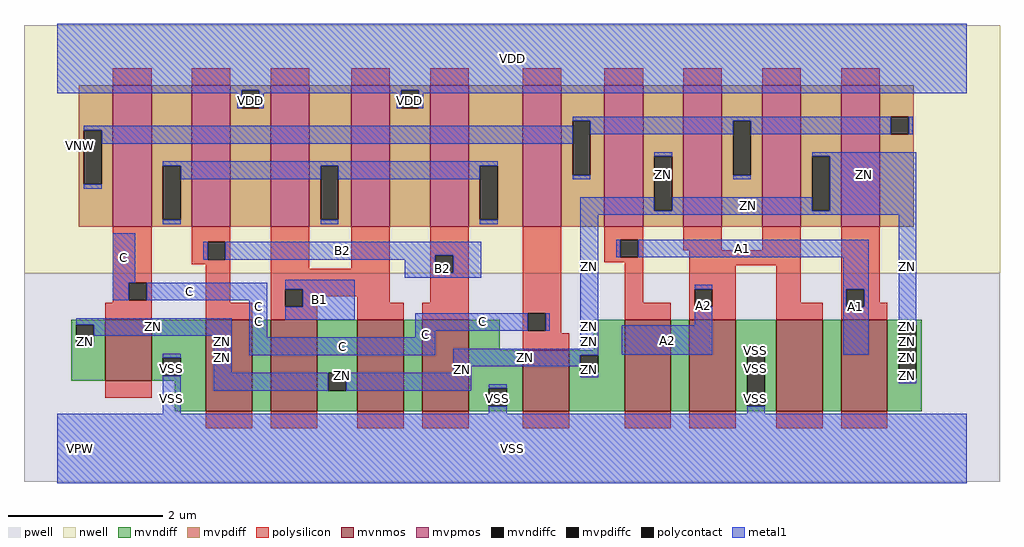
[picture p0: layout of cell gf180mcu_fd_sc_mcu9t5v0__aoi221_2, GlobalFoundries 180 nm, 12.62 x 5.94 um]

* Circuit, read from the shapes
.subckt gf180mcu_fd_sc_mcu9t5v0__aoi221_2 A1 A2 B1 B2 C ZN VDD VNW VPW VSS
XM1 VSS C ZN VPW nfet_06v0 w=0.79u l=0.6u m=2
XM2 n1 B2 VSS VPW nfet_06v0 w=1.185u l=0.6u
XM3 ZN B1 n1 VPW nfet_06v0 w=1.185u l=0.6u
XM4 n2 B1 ZN VPW nfet_06v0 w=1.185u l=0.6u
XM5 VSS B2 n2 VPW nfet_06v0 w=1.185u l=0.6u
XM6 n3 A1 ZN VPW nfet_06v0 w=1.185u l=0.6u
XM7 VSS A2 n3 VPW nfet_06v0 w=1.185u l=0.6u
XM8 n4 A2 VSS VPW nfet_06v0 w=1.185u l=0.6u
XM9 ZN A1 n4 VPW nfet_06v0 w=1.185u l=0.6u
XM10 n5 C n6 VNW pfet_06v0 w=1.83u l=0.5u m=2
XM11 VDD B2 n5 VNW pfet_06v0 w=1.83u l=0.5u m=2
XM12 n5 B1 VDD VNW pfet_06v0 w=1.83u l=0.5u m=2
XM13 ZN A1 n6 VNW pfet_06v0 w=1.83u l=0.5u m=2
XM14 n6 A2 ZN VNW pfet_06v0 w=1.83u l=0.5u m=2
.ends

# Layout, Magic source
magic
tech gf180mcuD
magscale 1 10
<< nwell >>
rect -86 453 2438 1094
<< pwell >>
rect -86 -86 2438 453
<< mvnmos >>
rect 124 175 244 333
rect 384 96 504 333
rect 552 96 672 333
rect 776 96 896 333
rect 944 96 1064 333
rect 1204 96 1324 254
rect 1467 96 1587 333
rect 1635 96 1755 333
rect 1859 96 1979 333
rect 2027 96 2147 333
<< mvpmos >>
rect 144 573 244 939
rect 348 573 448 939
rect 552 573 652 939
rect 760 573 860 939
rect 964 573 1064 939
rect 1204 573 1304 939
rect 1415 573 1515 939
rect 1619 573 1719 939
rect 1823 573 1923 939
rect 2027 573 2127 939
<< mvndiff >>
rect 36 320 124 333
rect 36 274 49 320
rect 95 274 124 320
rect 36 175 124 274
rect 244 234 384 333
rect 244 188 273 234
rect 319 188 384 234
rect 244 175 384 188
rect 304 96 384 175
rect 504 96 552 333
rect 672 195 776 333
rect 672 149 701 195
rect 747 149 776 195
rect 672 96 776 149
rect 896 96 944 333
rect 1064 254 1144 333
rect 1387 254 1467 333
rect 1064 155 1204 254
rect 1064 109 1116 155
rect 1162 109 1204 155
rect 1064 96 1204 109
rect 1324 241 1467 254
rect 1324 195 1353 241
rect 1399 195 1467 241
rect 1324 96 1467 195
rect 1587 96 1635 333
rect 1755 249 1859 333
rect 1755 109 1784 249
rect 1830 109 1859 249
rect 1755 96 1859 109
rect 1979 96 2027 333
rect 2147 320 2235 333
rect 2147 180 2176 320
rect 2222 180 2235 320
rect 2147 96 2235 180
<< mvpdiff >>
rect 56 823 144 939
rect 56 683 69 823
rect 115 683 144 823
rect 56 573 144 683
rect 244 731 348 939
rect 244 591 273 731
rect 319 591 348 731
rect 244 573 348 591
rect 448 926 552 939
rect 448 880 477 926
rect 523 880 552 926
rect 448 573 552 880
rect 652 731 760 939
rect 652 591 681 731
rect 727 591 760 731
rect 652 573 760 591
rect 860 926 964 939
rect 860 880 889 926
rect 935 880 964 926
rect 860 573 964 880
rect 1064 731 1204 939
rect 1064 591 1093 731
rect 1139 591 1204 731
rect 1064 573 1204 591
rect 1304 847 1415 939
rect 1304 707 1333 847
rect 1379 707 1415 847
rect 1304 573 1415 707
rect 1515 755 1619 939
rect 1515 615 1544 755
rect 1590 615 1619 755
rect 1515 573 1619 615
rect 1719 847 1823 939
rect 1719 707 1748 847
rect 1794 707 1823 847
rect 1719 573 1823 707
rect 1923 755 2027 939
rect 1923 615 1952 755
rect 1998 615 2027 755
rect 1923 573 2027 615
rect 2127 858 2215 939
rect 2127 812 2156 858
rect 2202 812 2215 858
rect 2127 573 2215 812
<< mvndiffc >>
rect 49 274 95 320
rect 273 188 319 234
rect 701 149 747 195
rect 1116 109 1162 155
rect 1353 195 1399 241
rect 1784 109 1830 249
rect 2176 180 2222 320
<< mvpdiffc >>
rect 69 683 115 823
rect 273 591 319 731
rect 477 880 523 926
rect 681 591 727 731
rect 889 880 935 926
rect 1093 591 1139 731
rect 1333 707 1379 847
rect 1544 615 1590 755
rect 1748 707 1794 847
rect 1952 615 1998 755
rect 2156 812 2202 858
<< polysilicon >>
rect 144 939 244 983
rect 348 939 448 983
rect 552 939 652 983
rect 760 939 860 983
rect 964 939 1064 983
rect 1204 939 1304 983
rect 1415 939 1515 983
rect 1619 939 1719 983
rect 1823 939 1923 983
rect 2027 939 2127 983
rect 144 429 244 573
rect 348 534 448 573
rect 348 488 389 534
rect 435 488 448 534
rect 348 476 448 488
rect 144 383 185 429
rect 231 383 244 429
rect 144 377 244 383
rect 124 333 244 377
rect 384 377 448 476
rect 552 465 652 573
rect 760 465 860 573
rect 552 412 860 465
rect 384 333 504 377
rect 552 366 589 412
rect 635 393 860 412
rect 635 366 672 393
rect 552 333 672 366
rect 776 377 860 393
rect 964 500 1064 573
rect 964 454 978 500
rect 1024 454 1064 500
rect 964 377 1064 454
rect 776 333 896 377
rect 944 333 1064 377
rect 1204 350 1304 573
rect 1415 540 1515 573
rect 1415 494 1456 540
rect 1502 494 1515 540
rect 1619 513 1719 573
rect 1823 513 1923 573
rect 1415 481 1515 494
rect 124 131 244 175
rect 1204 304 1217 350
rect 1263 304 1304 350
rect 1467 377 1515 481
rect 1635 473 1923 513
rect 1635 412 1755 473
rect 1467 333 1587 377
rect 1635 366 1648 412
rect 1694 366 1755 412
rect 1635 333 1755 366
rect 1859 377 1923 473
rect 2027 412 2127 573
rect 1859 333 1979 377
rect 2027 366 2041 412
rect 2087 377 2127 412
rect 2087 366 2147 377
rect 2027 333 2147 366
rect 1204 298 1304 304
rect 1204 254 1324 298
rect 384 52 504 96
rect 552 52 672 96
rect 776 52 896 96
rect 944 52 1064 96
rect 1204 52 1324 96
rect 1467 52 1587 96
rect 1635 52 1755 96
rect 1859 52 1979 96
rect 2027 52 2147 96
<< polycontact >>
rect 389 488 435 534
rect 185 383 231 429
rect 589 366 635 412
rect 978 454 1024 500
rect 1456 494 1502 540
rect 1217 304 1263 350
rect 1648 366 1694 412
rect 2041 366 2087 412
<< metal1 >>
rect 0 926 2352 1098
rect 0 918 477 926
rect 466 880 477 918
rect 523 918 889 926
rect 523 880 534 918
rect 878 880 889 918
rect 935 918 2352 926
rect 935 880 946 918
rect 1333 847 2156 858
rect 69 823 1333 834
rect 115 788 1333 823
rect 69 672 115 683
rect 273 731 1139 742
rect 319 696 681 731
rect 273 580 319 591
rect 727 696 1093 731
rect 681 580 727 591
rect 1379 812 1748 847
rect 1333 696 1379 707
rect 1544 755 1590 766
rect 1093 580 1139 591
rect 1353 615 1544 650
rect 1794 812 2156 847
rect 2202 812 2213 858
rect 1748 696 1794 707
rect 1952 755 2222 766
rect 1590 615 1952 650
rect 1998 615 2222 755
rect 1353 604 2222 615
rect 143 429 202 557
rect 378 488 389 534
rect 435 500 1096 534
rect 435 488 978 500
rect 898 454 978 488
rect 1024 454 1096 500
rect 898 441 1096 454
rect 143 383 185 429
rect 231 383 543 429
rect 49 320 451 337
rect 95 291 451 320
rect 49 263 95 274
rect 273 234 319 245
rect 273 90 319 188
rect 405 195 451 291
rect 497 287 543 383
rect 589 412 769 436
rect 635 366 769 412
rect 589 333 769 366
rect 926 304 1217 350
rect 1263 304 1274 350
rect 926 287 978 304
rect 497 241 978 287
rect 1353 258 1399 604
rect 1445 494 1456 540
rect 1502 494 2098 540
rect 1648 412 1694 423
rect 1648 318 1694 366
rect 1024 241 1399 258
rect 1460 242 1694 318
rect 2033 412 2098 494
rect 2033 366 2041 412
rect 2087 366 2098 412
rect 1784 249 1830 260
rect 1024 212 1353 241
rect 1024 195 1070 212
rect 405 149 701 195
rect 747 149 1070 195
rect 1353 184 1399 195
rect 1116 155 1162 166
rect 1116 90 1162 109
rect 2033 242 2098 366
rect 2176 320 2222 604
rect 2176 169 2222 180
rect 1784 90 1830 109
rect 0 -90 2352 90
<< labels >>
flabel metal1 s 1445 494 2098 540 0 FreeSans 200 0 0 0 A1
port 1 nsew default input
flabel metal1 s 1648 318 1694 423 0 FreeSans 200 0 0 0 A2
port 2 nsew default input
flabel metal1 s 589 333 769 436 0 FreeSans 200 0 0 0 B1
port 3 nsew default input
flabel metal1 s 378 488 1096 534 0 FreeSans 200 0 0 0 B2
port 4 nsew default input
flabel metal1 s 143 429 202 557 0 FreeSans 200 0 0 0 C
port 5 nsew default input
flabel metal1 s 0 918 2352 1098 0 FreeSans 200 0 0 0 VDD
port 7 nsew power bidirectional abutment
flabel metal1 s 1784 245 1830 260 0 FreeSans 200 0 0 0 VSS
port 10 nsew ground bidirectional abutment
flabel metal1 s 1952 650 2222 766 0 FreeSans 200 0 0 0 ZN
port 6 nsew default output
flabel nwell s 10 734 110 834 0 FreeSans 400 0 0 0 VNW
port 8 nsew power bidirectional
flabel pwell s 10 -50 110 50 0 FreeSans 400 0 0 0 VPW
port 9 nsew ground bidirectional
rlabel metal1 s 2033 242 2098 494 1 A1
port 1 nsew default input
rlabel metal1 s 1460 242 1694 318 1 A2
port 2 nsew default input
rlabel metal1 s 898 441 1096 488 1 B2
port 4 nsew default input
rlabel metal1 s 143 383 543 429 1 C
port 5 nsew default input
rlabel metal1 s 497 350 543 383 1 C
port 5 nsew default input
rlabel metal1 s 926 304 1274 350 1 C
port 5 nsew default input
rlabel metal1 s 497 304 543 350 1 C
port 5 nsew default input
rlabel metal1 s 926 287 978 304 1 C
port 5 nsew default input
rlabel metal1 s 497 287 543 304 1 C
port 5 nsew default input
rlabel metal1 s 497 241 978 287 1 C
port 5 nsew default input
rlabel metal1 s 1544 650 1590 766 1 ZN
port 6 nsew default output
rlabel metal1 s 1353 604 2222 650 1 ZN
port 6 nsew default output
rlabel metal1 s 2176 337 2222 604 1 ZN
port 6 nsew default output
rlabel metal1 s 1353 337 1399 604 1 ZN
port 6 nsew default output
rlabel metal1 s 2176 291 2222 337 1 ZN
port 6 nsew default output
rlabel metal1 s 1353 291 1399 337 1 ZN
port 6 nsew default output
rlabel metal1 s 49 291 451 337 1 ZN
port 6 nsew default output
rlabel metal1 s 2176 263 2222 291 1 ZN
port 6 nsew default output
rlabel metal1 s 1353 263 1399 291 1 ZN
port 6 nsew default output
rlabel metal1 s 405 263 451 291 1 ZN
port 6 nsew default output
rlabel metal1 s 49 263 95 291 1 ZN
port 6 nsew default output
rlabel metal1 s 2176 258 2222 263 1 ZN
port 6 nsew default output
rlabel metal1 s 1353 258 1399 263 1 ZN
port 6 nsew default output
rlabel metal1 s 405 258 451 263 1 ZN
port 6 nsew default output
rlabel metal1 s 2176 212 2222 258 1 ZN
port 6 nsew default output
rlabel metal1 s 1024 212 1399 258 1 ZN
port 6 nsew default output
rlabel metal1 s 405 212 451 258 1 ZN
port 6 nsew default output
rlabel metal1 s 2176 195 2222 212 1 ZN
port 6 nsew default output
rlabel metal1 s 1353 195 1399 212 1 ZN
port 6 nsew default output
rlabel metal1 s 1024 195 1070 212 1 ZN
port 6 nsew default output
rlabel metal1 s 405 195 451 212 1 ZN
port 6 nsew default output
rlabel metal1 s 2176 184 2222 195 1 ZN
port 6 nsew default output
rlabel metal1 s 1353 184 1399 195 1 ZN
port 6 nsew default output
rlabel metal1 s 405 184 1070 195 1 ZN
port 6 nsew default output
rlabel metal1 s 2176 169 2222 184 1 ZN
port 6 nsew default output
rlabel metal1 s 405 169 1070 184 1 ZN
port 6 nsew default output
rlabel metal1 s 405 149 1070 169 1 ZN
port 6 nsew default output
rlabel metal1 s 878 880 946 918 1 VDD
port 7 nsew power bidirectional abutment
rlabel metal1 s 466 880 534 918 1 VDD
port 7 nsew power bidirectional abutment
rlabel metal1 s 1784 166 1830 245 1 VSS
port 10 nsew ground bidirectional abutment
rlabel metal1 s 273 166 319 245 1 VSS
port 10 nsew ground bidirectional abutment
rlabel metal1 s 1784 90 1830 166 1 VSS
port 10 nsew ground bidirectional abutment
rlabel metal1 s 1116 90 1162 166 1 VSS
port 10 nsew ground bidirectional abutment
rlabel metal1 s 273 90 319 166 1 VSS
port 10 nsew ground bidirectional abutment
rlabel metal1 s 0 -90 2352 90 1 VSS
port 10 nsew ground bidirectional abutment
<< properties >>
string FIXED_BBOX 0 0 2352 1008
string GDS_END 1225466
string GDS_FILE $PDKPATH/libs.ref/gf180mcu_fd_sc_mcu9t5v0/gds/gf180mcu_fd_sc_mcu9t5v0.gds
string GDS_START 1219484
string LEFclass core
string LEFsite GF018hv5v_green_sc9
string LEFsymmetry X Y
<< end >>
